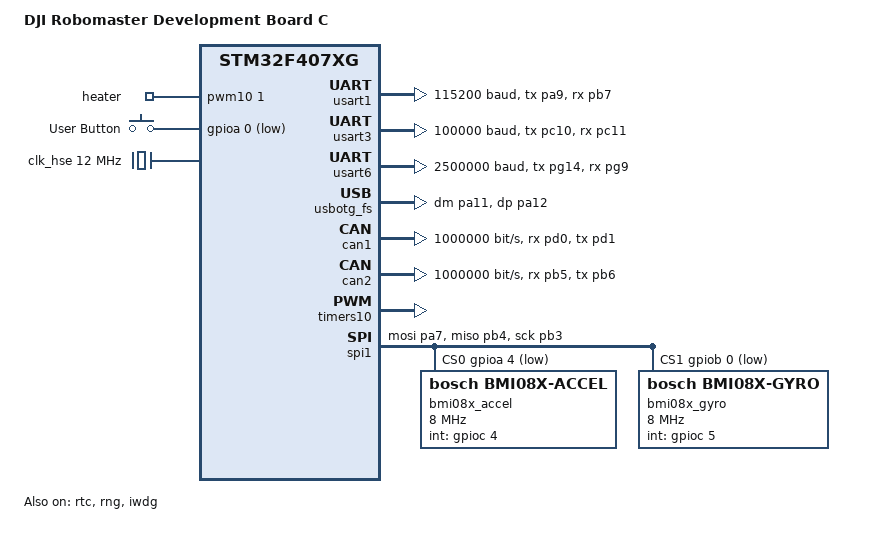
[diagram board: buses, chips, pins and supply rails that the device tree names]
/*
 * Copyright (c) 2024, ttwards <xuwenxi0517@gmail.com>
 *
 * SPDX-License-Identifier: Apache-2.0
 */

/dts-v1/;
#include <st/f4/stm32f407Xg.dtsi>
#include <st/f4/stm32f407i(e-g)tx-pinctrl.dtsi>
#include <zephyr/dt-bindings/input/input-event-codes.h>
// #include "robomaster_board_c-pinctrl.dtsi"

/ {
	model = "DJI Robomaster Development Board C";
	compatible = "dji,robomaster-board-c";

	chosen {
		zephyr,console = &usart1;
		zephyr,shell-uart = &usart1;
		zephyr,sram = &sram0;
		zephyr,button = &user_button;
		zephyr,flash = &flash0;
		zephyr,canbus = &can1;
		zephyr,ccm = &ccm0;
		ares,pwm = &heater;
		sbus,uart = &usart3;
	};

	aliases {
		// led0 = &led_0_blue;
		// led1 = &led_1_green;
		// led2 = &led_2_red;
		vofa = &usart6;
		watchdog0 = &iwdg;
	};

	// pwmleds {
	// 	compatible = "pwm-leds";

	// 	led_0_blue: led_0_blue {
	// 		pwms = <&pwm5 1 PWM_MSEC(20) PWM_POLARITY_NORMAL>;
	// 	};

	// 	led_1_green: led_1_green {
	// 		pwms = <&pwm5 2 PWM_MSEC(20) PWM_POLARITY_NORMAL>;
	// 	};

	// 	led_2_red: led_2_red {
	// 		pwms = <&pwm5 3 PWM_MSEC(20) PWM_POLARITY_NORMAL>;
	// 	};
	// };

	pwmleds: pwmleds {
		compatible = "pwm-leds";
		status = "okay";
		heater: heater {
			pwms = <&pwm10 1 PWM_MSEC(20) PWM_POLARITY_NORMAL>;
		};
	};

	imu_temp_pid: imu_temp_pid {
		#controller-cells = <0>;
		compatible = "pid,single";
		k_p = "6000000";
		k_d = "0.02";
		out_max = "20000000.000000";
		offset = "6750000.000000";
	};

	buttons {
		compatible = "gpio-keys";
		user_button: button_0 {
			gpios = <&gpioa 0 (GPIO_PULL_UP | GPIO_ACTIVE_LOW)>;
			label = "User Button";
			zephyr,code = <INPUT_KEY_0>;
		};
	};
	canbus {
		canbus1: canbus1 {
				compatible = "vnd,canbus";
				status = "okay";
				can_device = <&can1>;
		};
		canbus2: canbus2 {
				compatible = "vnd,canbus";
				status = "okay";
				can_device = <&can2>;
		};
	};
};

&clk_lsi {
	status = "okay";
};

&clk_hse {
	clock-frequency = <DT_FREQ_M(12)>;
	status = "okay";
};

&pll {
	div-m = <6>;
	mul-n = <168>;
	div-p = <2>;
	div-q = <4>;
	clocks = <&clk_hse>;
	status = "okay";
};

&rcc {
	clocks = <&pll>;
	clock-frequency = <DT_FREQ_M(168)>;
	ahb-prescaler = <1>;
	apb1-prescaler = <4>;
	apb2-prescaler = <2>;
};

&rtc {
	clocks = <&rcc STM32_CLOCK_BUS_APB1 0x10000000>,
			<&rcc STM32_SRC_LSI RTC_SEL(2)>;
	status = "okay";
};

&rng {
	status = "okay";
};

&iwdg {
	status = "okay";
};

&dma1 {
    status = "okay";
};

&dma2 {
    status = "okay";
};

&usart1 {
	pinctrl-0 = <&usart1_tx_pa9 &usart1_rx_pb7>;
	pinctrl-names = "default";
	current-speed = <115200>;
	status = "okay";
	data-bits = <8>;
	stop-bits = "1";
};

&usart3 {
    pinctrl-0 = <&usart3_tx_pc10 &usart3_rx_pc11>;
    pinctrl-names = "default";
    current-speed = <100000>;
    status = "okay";
    data-bits = <8>;
    stop-bits = "2";
    parity = "even";
    dmas = <&dma1 1 4 STM32_DMA_PERIPH_RX STM32_DMA_FIFO_FULL>,
		   <&dma1 3 4 STM32_DMA_PERIPH_TX STM32_DMA_FIFO_FULL>;
    dma-names = "rx", "tx";
};

&usart6 {
	pinctrl-0 = <&usart6_tx_pg14 &usart6_rx_pg9>;
	pinctrl-names = "default";
	current-speed = <2500000>;
	status = "okay";
	data-bits = <8>;
	stop-bits = "1";
	dmas = <&dma2 6 5 STM32_DMA_PERIPH_TX STM32_DMA_FIFO_FULL>,
		   <&dma2 1 5 STM32_DMA_PERIPH_RX STM32_DMA_FIFO_FULL>;
	dma-names = "tx", "rx";
};

zephyr_udc0: &usbotg_fs {
	pinctrl-0 = <&usb_otg_fs_dm_pa11 &usb_otg_fs_dp_pa12>;
	pinctrl-names = "default";
	status = "okay";

	// cdc_acm_uart0: cdc_acm_uart {
	// 	compatible = "zephyr,cdc-acm-uart";
	// };
};

&can1 {
	status = "okay";
	pinctrl-0 = <&can1_rx_pd0 &can1_tx_pd1>;
	pinctrl-names = "default";
	bitrate = <1000000>;
};

&can2 {
	pinctrl-0 = <&can2_rx_pb5 &can2_tx_pb6>;
	pinctrl-names = "default";
	bitrate = <1000000>;
	status = "okay";
};

&timers10 {
	status = "okay";
	st,prescaler = <10000>;
	pwm10: pwm {
		status = "okay";
		pinctrl-0 = <&tim10_ch1_pf6>;
		pinctrl-names = "default";
	};
};

// &adc1 {
// 	pinctrl-0 = <&adc_in4_pf6>;
// 	pinctrl-names = "default";
// 	st,adc-clock-source = <SYNC>;
// 	st,adc-prescaler = <4>;
// 	status = "okay";
// };

&spi1 {
	status = "okay";
	cs-gpios = <&gpioa 4 GPIO_ACTIVE_LOW>,
		<&gpiob 0 GPIO_ACTIVE_LOW>;
	pinctrl-0=<&spi1_mosi_pa7
			&spi1_miso_pb4
			&spi1_sck_pb3>;
	pinctrl-names="default";

    bmi08x_accel: bmi08x_accel@0 {
        compatible = "bosch,bmi08x-accel";
		status = "okay";
        reg = <0>;
        spi-max-frequency = <8000000>;
        int-gpios = <&gpioc 4 GPIO_ACTIVE_HIGH>;
        accel-hz = "800";
        accel-fs = <12>;
		int1-map-io = <0x01>;
		int2-map-io = <0x02>;
        int1-conf-io = <0x0A>;
		int2-conf-io = <0x0A>;
    };

    bmi08x_gyro: bmi08x_gyro@1{
        compatible = "bosch,bmi08x-gyro";
		status = "okay";
        reg = <1>;
        spi-max-frequency = <8000000>;
        int-gpios = <&gpioc 5 GPIO_ACTIVE_HIGH>;
        gyro-hz = "1000_116";
        gyro-fs = <1000>;
		int3-4-map-io = <0x01>;
		int3-4-conf-io = <0x01>;
    };
};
